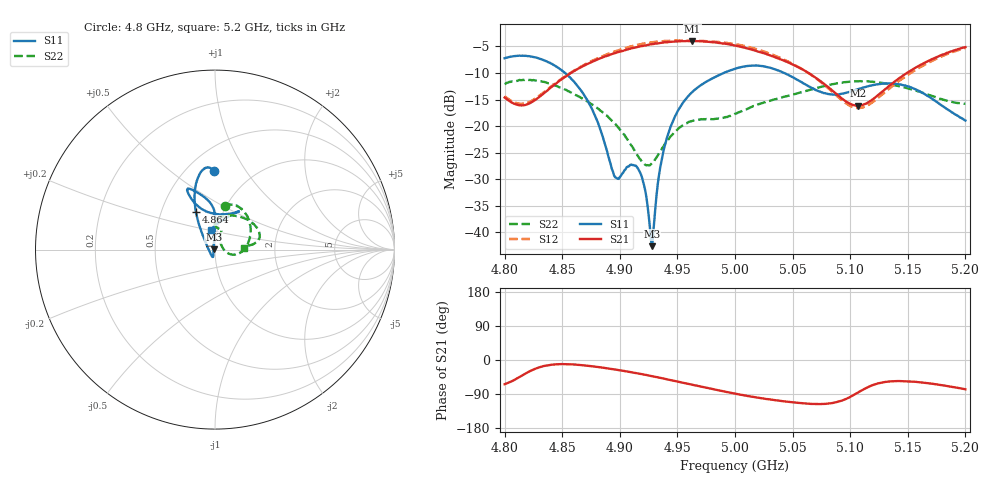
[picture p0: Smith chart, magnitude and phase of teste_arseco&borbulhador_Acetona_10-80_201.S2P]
! Network Analyzer HP8722D
! Hewlett-Packard
! Data name: Linha & Wilkinson
! Saver's name: Rodrigo Anjos
! Comments: Teste da utilização de aquisição
! continua pelo VNA HP8722D
! Time and date: 25/4/2025 16:56
!  Frequency  S11  S21  S12  S22
# HZ  S  MA R 50
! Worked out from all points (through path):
!   401 points, 4.8 GHz to 5.2 GHz, reference 50 ohm
!   highest |S21| = -3.98 dB at 4.963 GHz (marker M1); lowest = -16.2 dB at 5.107 GHz (marker M2)
!   lowest |S11| = -42.6 dB at 4.928 GHz (marker M3), VSWR 1.01, Z = 49.3 + j0.0687 ohm
!   |S11| at or under -10 dB: 4.852 GHz to 4.99 GHz (137.8 MHz wide, 2.8 % of centre); 5.043 GHz to end of sweep
!   |S22| runs from -27.4 to -11.2 dB; largest |S21 - S12| = 1.2
!   S11 on the Smith chart (normalised r, x): 4.8 GHz: 0.67, +0.72; 4.864 GHz: 0.75, +0.33; 5.2 GHz: 0.94, +0.21
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4.8e9  0.4355 91.0  0.1856 -63.8  0.1909 69.5  0.2481 77.1
4.82e9  0.455 97.3  0.1609 -32.5  0.1664 98.2  0.2727 61.7
4.844e9  0.368 107.1  0.2491 -11.5  0.252 119.2  0.2401 35.8
4.864e9  0.2345 116.9  0.3482 -12.8  0.3513 121.1  0.1903 12.4
4.867e9  0.2113 118.6  0.3616 -13.6  0.3662 120.8  0.1834 8.9
4.88e9  0.1146 128.7  0.4209 -18.1  0.4319 118.4  0.149 -4.8
4.896e9  0.03295 -169.8  0.4868 -25.2  0.5052 113.3  0.1049 -15.3
4.91e9  0.04346 -108.3  0.5402 -32.3  0.5627 107.4  0.06567 -13.4
4.917e9  0.03755 -105.0  0.5617 -36.2  0.5869 103.8  0.04963 -0.8
4.921e9  0.02796 -108.3  0.5724 -38.5  0.598 101.6  0.04433 12.2
4.926e9  0.01155 -134.1  0.5858 -41.5  0.61 98.5  0.04269 32.7
4.928e9  0.007419 174.6  0.59 -42.7  0.6149 97.3  0.04496 39.9
4.934e9  0.03441 100.8  0.6026 -46.6  0.6278 93.5  0.05547 57.4
4.945e9  0.104 90.8  0.6215 -53.6  0.6368 86.4  0.08186 69.0
4.963e9  0.2095 90.9  0.6322 -65.2  0.6355 74.9  0.1119 70.7
5e9  0.3466 109.2  0.5721 -88.8  0.5922 51.0  0.1305 88.1
5.03e9  0.3552 115.4  0.4644 -103.9  0.4806 33.9  0.1726 85.5
5.067e9  0.228 105.6  0.301 -115.8  0.2983 23.6  0.2218 57.2
5.107e9  0.223 64.6  0.1554 -85.4  0.1475 57.5  0.2636 24.3
5.134e9  0.252 57.9  0.2399 -56.6  0.2254 88.8  0.2483 12.5
5.169e9  0.1873 70.5  0.4161 -61.9  0.4001 85.1  0.1952 7.0
5.2e9  0.1129 100.8  0.5534 -77.3  0.5434 70.4  0.1621 3.8
